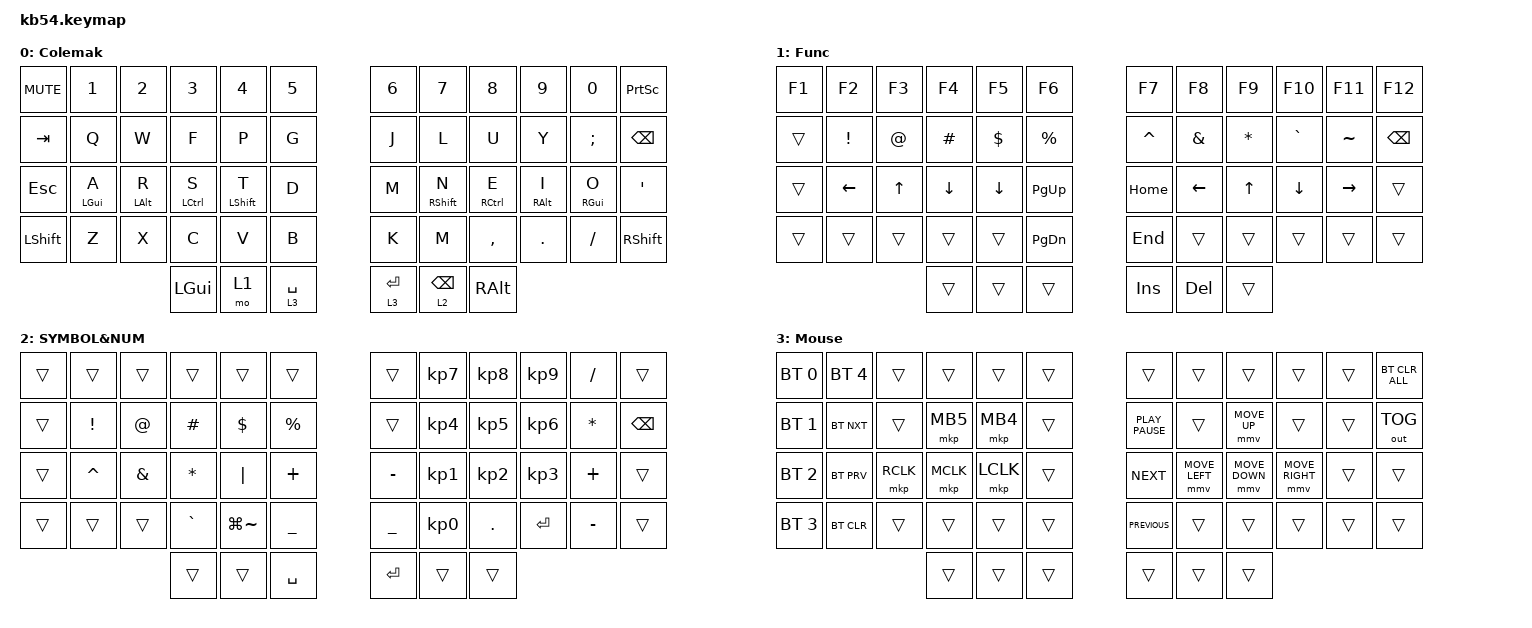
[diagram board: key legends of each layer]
/*
 * Copyright (c) 2020 The ZMK Contributors
 *
 * SPDX-License-Identifier: MIT
 */

#define ZMK_POINTING_DEFAULT_MOVE_VAL 1200  // 600
#define ZMK_POINTING_DEFAULT_SCRL_VAL 25   // 10

#include <behaviors.dtsi>
#include <dt-bindings/zmk/bt.h>
#include <dt-bindings/zmk/keys.h>
#include <dt-bindings/zmk/outputs.h>
#include <dt-bindings/zmk/pointing.h>

/ {
    chosen {
        zmk,matrix_transform = &default_transform;

        // zmk,matrix_transform = &five_column_transform;
    };
};

/ {
    behaviors {
        td0: td0 {
            compatible = "zmk,behavior-tap-dance";
            label = "TD0";
            #binding-cells = <0>;
            bindings = <&kp LEFT_SHIFT>, <&kp CAPS>;
        };

        hml: homewrow_mods_left {
            compatible = "zmk,behavior-hold-tap";
            #binding-cells = <2>;
            label = "HOMEROW_MODS_LEFT_HAND";
            bindings = <&kp>, <&kp>;

            tapping-term-ms = <200>;
            hold-trigger-key-positions = <6 7 8 9 10 11 18 19 20 21 22 23 30 31 32 33 34 35 39 40 41>;
        };

        hmr: homewrow_mods_right {
            compatible = "zmk,behavior-hold-tap";
            #binding-cells = <2>;
            label = "HOMEROW_MODS_RIGHT_HAND";
            bindings = <&kp>, <&kp>;

            tapping-term-ms = <200>;
            hold-trigger-key-positions = <0 1 2 3 4 5 12 13 14 15 16 17 24 25 26 27 28 29 36 37 38>;
        };
    };

    macros {
        Left_half: Left_half {
            compatible = "zmk,behavior-macro";
            #binding-cells = <0>;
            bindings = <&kp LS(LG(Q))>;
            label = "LEFT_HALF";
        };

        Right_split: Right_split {
            compatible = "zmk,behavior-macro";
            #binding-cells = <0>;
            bindings = <&kp LS(LG(W))>;
            label = "RIGHT_SPLIT";
        };
    };

    combos {
        compatible = "zmk,combos";

        LeftPar {
            bindings = <&kp LEFT_PARENTHESIS>;
            key-positions = <28 27>;
            layers = <0>;
        };

        RightPar {
            bindings = <&kp RIGHT_PARENTHESIS>;
            key-positions = <31 32>;
        };

        LeftCurly {
            bindings = <&kp LEFT_BRACE>;
            key-positions = <16 15>;
        };

        RightCurly {
            bindings = <&kp RIGHT_BRACE>;
            key-positions = <19 20>;
        };

        LeftBrack {
            bindings = <&kp LEFT_BRACKET>;
            key-positions = <40 39>;
        };

        RightBrack {
            bindings = <&kp RIGHT_BRACKET>;
            key-positions = <43 44>;
        };
    };

    keymap {
        compatible = "zmk,keymap";

        Default_Layer {
            display-name = "Colemak";

            // --------------------------------------------------------------------------------
            // | MUTE |  1  |  2  |  3  |  4  |  5  |   |  6  |  7   |  8  |  9  |  0  | PG_DN |
            // | TAB  |  Q  |  W  |  E  |  R  |  G  |   |  Y  |  U   |  I  |  O  |  P  | BKSP  |
            // | CTRL |  A  |  S  |  D  |  F  |  D  |   |  H  |  J   |  K  |  L  |  ;  |  '    |
            // | SHFT |  Z  |  X  |  C  |  V  |  B  |   |  N  |  M   |  ,  |  .  |  /  | ESC   |
            //                    | GUI | LWR | SPC |   | ENT | RSE  | ALT |

            bindings = <
&kp C_MUTE  &kp N1           &kp N2       &kp N3        &kp N4         &kp N5         &kp N6       &kp N7           &kp N8        &kp N9       &kp N0         &kp PRINTSCREEN
&kp TAB     &kp Q            &kp W        &kp F         &kp P          &kp G          &kp J        &kp L            &kp U         &kp Y        &kp SEMICOLON  &kp BSPC
&kp ESC     &hml LEFT_GUI A  &hml LALT R  &hml LCTRL S  &hml LSHIFT T  &kp D          &kp M        &hmr RSHIFT N    &hmr RCTRL E  &hmr RALT I  &hmr RGUI O    &kp SQT
&kp LSHFT   &kp Z            &kp X        &kp C         &kp V          &kp B          &kp K        &kp M            &kp COMMA     &kp DOT      &kp FSLH       &kp RIGHT_SHIFT
                                          &kp LEFT_GUI  &mo 1          &lt 3 SPACE    &lt 3 ENTER  &lt 2 BACKSPACE  &kp RALT
            >;
        };

        Function_Layer {
            display-name = "Func";

            // -----------------------------------------------------------------------------------------
            // |  F1  |  F2 |  F3 |  F4 |  F5 |  F6 |   |  F7 |  F8 |  F9 | F10 | F11 | F12  |
            // |  TAB |  1  |  2  |  3  |  4  |  5  |   |  6  |  7  |  8  |  9  |  0  | BKSP |
            // | BTCLR| BT1 | BT2 | BT3 | BT4 | BT5 |   | LFT | DWN |  UP | RGT |     |      |
            // | SHFT |     |     |     |     |     |   |     |     |     |     |     |      |
            //                    | GUI |     | SPC |   | ENT |     | ALT |

            bindings = <
&kp F1  &kp F2           &kp F3       &kp F4    &kp F5      &kp F6           &kp F7     &kp F8         &kp F9        &kp F10    &kp F11    &kp F12
&trans  &kp EXCLAMATION  &kp AT_SIGN  &kp HASH  &kp DOLLAR  &kp PERCENT      &kp CARET  &kp AMPERSAND  &kp ASTERISK  &kp GRAVE  &kp TILDE  &kp BSPC
&trans  &kp LEFT         &kp UP       &kp DOWN  &kp DOWN    &kp PAGE_UP      &kp HOME   &kp LEFT       &kp UP        &kp DOWN   &kp RIGHT  &trans
&trans  &trans           &trans       &trans    &trans      &kp PAGE_DOWN    &kp END    &trans         &trans        &trans     &trans     &trans
                                      &trans    &trans      &trans           &kp INS    &kp DEL        &trans
            >;
        };

        Symbol_Num {
            display-name = "SYMBOL&NUM";

            // -----------------------------------------------------------------------------------------
            // |  TAB |  !  |  @  |  #  |  $  |  %  |   |  ^  |  &  |  *  |  (  |  )  | BKSP |
            // | CTRL |     |     |     |     |     |   |  -  |  =  |  [  |  ]  |  \  |  `   |
            // | SHFT |     |     |     |     |     |   |  _  |  +  |  {  |  }  | "|" |  ~   |
            //                    | GUI |     | SPC |   | ENT |     | ALT |

            bindings = <
&trans  &trans     &trans         &trans        &trans         &trans            &trans     &kp KP_NUMBER_7  &kp KP_N8  &kp KP_N9        &kp SLASH     &trans
&trans  &kp EXCL   &kp AT         &kp HASH      &kp DLLR       &kp PRCNT         &trans     &kp KP_N4        &kp KP_N5  &kp KP_NUMBER_6  &kp ASTERISK  &kp BSPC
&trans  &kp CARET  &kp AMPERSAND  &kp ASTERISK  &kp PIPE       &kp PLUS          &kp MINUS  &kp KP_NUMBER_1  &kp KP_N2  &kp KP_N3        &kp PLUS      &trans
&trans  &trans     &trans         &kp GRAVE     &kp LG(TILDE)  &kp UNDERSCORE    &kp UNDER  &kp KP_N0        &kp DOT    &kp ENTER        &kp MINUS     &trans
                                  &trans        &trans         &kp SPACE         &kp RET    &trans           &trans
            >;
        };

        Mouse {
            bindings = <
&bt BT_SEL 0  &bt BT_SEL 4  &trans     &trans     &trans     &trans    &trans            &trans          &trans          &trans           &trans  &bt BT_CLR_ALL
&bt BT_SEL 1  &bt BT_NXT    &trans     &mkp MB5   &mkp MB4   &trans    &kp K_PLAY_PAUSE  &trans          &mmv MOVE_UP    &trans           &trans  &out OUT_TOG
&bt BT_SEL 2  &bt BT_PRV    &mkp RCLK  &mkp MCLK  &mkp LCLK  &trans    &kp C_NEXT        &mmv MOVE_LEFT  &mmv MOVE_DOWN  &mmv MOVE_RIGHT  &trans  &trans
&bt BT_SEL 3  &bt BT_CLR    &trans     &trans     &trans     &trans    &kp K_PREVIOUS    &trans          &trans          &trans           &trans  &trans
                                       &trans     &trans     &trans    &trans            &trans          &trans
            >;
        };
    };
};
